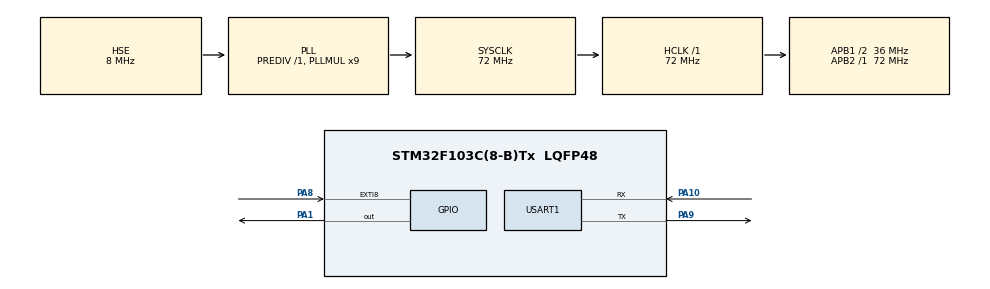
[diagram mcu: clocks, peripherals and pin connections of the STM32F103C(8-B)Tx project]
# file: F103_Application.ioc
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Mcu.Family=STM32F1
Mcu.Name=STM32F103C(8-B)Tx
Mcu.Package=LQFP48
NVIC.EXTI9_5_IRQn=true\:0\:0\:false\:false\:true\:true\:true\:true
NVIC.PriorityGroup=NVIC_PRIORITYGROUP_4
PA1.Signal=GPIO_Output
PA10.Mode=Asynchronous
PA10.Signal=USART1_RX
PA13.Mode=Serial_Wire
PA13.Signal=SYS_JTMS-SWDIO
PA14.Mode=Serial_Wire
PA14.Signal=SYS_JTCK-SWCLK
PA8.GPIO_ModeDefaultEXTI=GPIO_MODE_IT_FALLING
PA8.GPIO_PuPd=GPIO_PULLUP
PA8.Signal=GPXTI8
PA9.Mode=Asynchronous
PA9.Signal=USART1_TX
PD0-OSC_IN.Mode=HSE-External-Oscillator
PD0-OSC_IN.Signal=RCC_OSC_IN
PD1-OSC_OUT.Mode=HSE-External-Oscillator
PD1-OSC_OUT.Signal=RCC_OSC_OUT
ProjectManager.HeapSize=0x200
ProjectManager.StackSize=0x400
ProjectManager.TargetToolchain=STM32CubeIDE
RCC.AHBFreq_Value=72000000
RCC.APB1CLKDivider=RCC_HCLK_DIV2
RCC.APB1Freq_Value=36000000
RCC.APB1TimFreq_Value=72000000
RCC.APB2Freq_Value=72000000
RCC.APB2TimFreq_Value=72000000
RCC.HCLKFreq_Value=72000000
RCC.PLLMUL=RCC_PLL_MUL9
RCC.PLLSourceVirtual=RCC_PLLSOURCE_HSE
RCC.SYSCLKFreq_VALUE=72000000
RCC.SYSCLKSource=RCC_SYSCLKSOURCE_PLLCLK
RCC.USBFreq_Value=72000000
USART1.VirtualMode=VM_ASYNC
board=custom

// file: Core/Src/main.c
/* USER CODE BEGIN Header */
/**
  ******************************************************************************
  * @file           : main.c
  * @brief          : Main program body
  ******************************************************************************
  * @attention
  *
  * Copyright (c) 2025 STMicroelectronics.
  * All rights reserved.
  *
  * This software is licensed under terms that can be found in the LICENSE file
  * in the root directory of this software component.
  * If no LICENSE file comes with this software, it is provided AS-IS.
  *
  ******************************************************************************
  */
/* USER CODE END Header */
#include "main.h"

/* USER CODE BEGIN Includes */
#include "flash_layout.h"
#include "app_header.h"
#include "app_ota.h"
/* USER CODE END Includes */

UART_HandleTypeDef huart1;

void SystemClock_Config(void);
static void MX_GPIO_Init(void);
static void MX_USART1_UART_Init(void);

/* USER CODE BEGIN 0 */

__attribute__((section(".header"))) const app_header_t app_header =
{
	.ota_flag = 0,
    .magic   = 0xABCDEFAB,
    .size    = 0,
    .crc     = 0,
    .version = 0
};

void HAL_GPIO_EXTI_Callback(uint16_t GPIO_Pin)
{
	uint32_t wait = 10000;
	while (wait--);
	enable_ota_request();
}

/* USER CODE END 0 */

int main(void)
{

  /* MCU Configuration--------------------------------------------------------*/

  /* Reset of all peripherals, Initializes the Flash interface and the Systick. */
  HAL_Init();

  /* USER CODE BEGIN Init */

  SCB->VTOR = APP_START_ADDR;
  __enable_irq();

  /* USER CODE END Init */

  /* Configure the system clock */
  SystemClock_Config();

  /* Initialize all configured peripherals */
  MX_GPIO_Init();
  MX_USART1_UART_Init();
  /* USER CODE BEGIN 2 */

  HAL_UART_Transmit(&huart1, (uint8_t *)"Inside Test Application!!\r\n", 26, 100);

  /* USER CODE END 2 */

  /* Infinite loop */
  while (1)
  {

    /* USER CODE BEGIN 3 */
	  HAL_GPIO_TogglePin(GPIOA, GPIO_PIN_1);
	  HAL_Delay(5000);
  }
  /* USER CODE END 3 */
}

void SystemClock_Config(void)
{
  RCC_OscInitTypeDef RCC_OscInitStruct = {0};
  RCC_ClkInitTypeDef RCC_ClkInitStruct = {0};

  /** Initializes the RCC Oscillators according to the specified parameters
  * in the RCC_OscInitTypeDef structure.
  */
  RCC_OscInitStruct.OscillatorType = RCC_OSCILLATORTYPE_HSE;
  RCC_OscInitStruct.HSEState = RCC_HSE_ON;
  RCC_OscInitStruct.HSEPredivValue = RCC_HSE_PREDIV_DIV1;
  RCC_OscInitStruct.HSIState = RCC_HSI_ON;
  RCC_OscInitStruct.PLL.PLLState = RCC_PLL_ON;
  RCC_OscInitStruct.PLL.PLLSource = RCC_PLLSOURCE_HSE;
  RCC_OscInitStruct.PLL.PLLMUL = RCC_PLL_MUL9;
  if (HAL_RCC_OscConfig(&RCC_OscInitStruct) != HAL_OK)
  {
    Error_Handler();
  }

  /** Initializes the CPU, AHB and APB buses clocks
  */
  RCC_ClkInitStruct.ClockType = RCC_CLOCKTYPE_HCLK|RCC_CLOCKTYPE_SYSCLK
                              |RCC_CLOCKTYPE_PCLK1|RCC_CLOCKTYPE_PCLK2;
  RCC_ClkInitStruct.SYSCLKSource = RCC_SYSCLKSOURCE_PLLCLK;
  RCC_ClkInitStruct.AHBCLKDivider = RCC_SYSCLK_DIV1;
  RCC_ClkInitStruct.APB1CLKDivider = RCC_HCLK_DIV2;
  RCC_ClkInitStruct.APB2CLKDivider = RCC_HCLK_DIV1;

  if (HAL_RCC_ClockConfig(&RCC_ClkInitStruct, FLASH_LATENCY_2) != HAL_OK)
  {
    Error_Handler();
  }
}

static void MX_USART1_UART_Init(void)
{

  huart1.Instance = USART1;
  huart1.Init.BaudRate = 115200;
  huart1.Init.WordLength = UART_WORDLENGTH_8B;
  huart1.Init.StopBits = UART_STOPBITS_1;
  huart1.Init.Parity = UART_PARITY_NONE;
  huart1.Init.Mode = UART_MODE_TX_RX;
  huart1.Init.HwFlowCtl = UART_HWCONTROL_NONE;
  huart1.Init.OverSampling = UART_OVERSAMPLING_16;
  if (HAL_UART_Init(&huart1) != HAL_OK)
  {
    Error_Handler();
  }

}

static void MX_GPIO_Init(void)
{
  GPIO_InitTypeDef GPIO_InitStruct = {0};

  /* GPIO Ports Clock Enable */
  __HAL_RCC_GPIOD_CLK_ENABLE();
  __HAL_RCC_GPIOA_CLK_ENABLE();

  /*Configure GPIO pin Output Level */
  HAL_GPIO_WritePin(GPIOA, GPIO_PIN_1, GPIO_PIN_RESET);

  /*Configure GPIO pin : PA1 */
  GPIO_InitStruct.Pin = GPIO_PIN_1;
  GPIO_InitStruct.Mode = GPIO_MODE_OUTPUT_PP;
  GPIO_InitStruct.Pull = GPIO_NOPULL;
  GPIO_InitStruct.Speed = GPIO_SPEED_FREQ_LOW;
  HAL_GPIO_Init(GPIOA, &GPIO_InitStruct);

  /*Configure GPIO pin : PA8 */
  GPIO_InitStruct.Pin = GPIO_PIN_8;
  GPIO_InitStruct.Mode = GPIO_MODE_IT_FALLING;
  GPIO_InitStruct.Pull = GPIO_PULLUP;
  HAL_GPIO_Init(GPIOA, &GPIO_InitStruct);

  /* EXTI interrupt init*/
  HAL_NVIC_SetPriority(EXTI9_5_IRQn, 0, 0);
  HAL_NVIC_EnableIRQ(EXTI9_5_IRQn);

}

void Error_Handler(void)
{
  __disable_irq();
  while (1)
  {
  }
}
